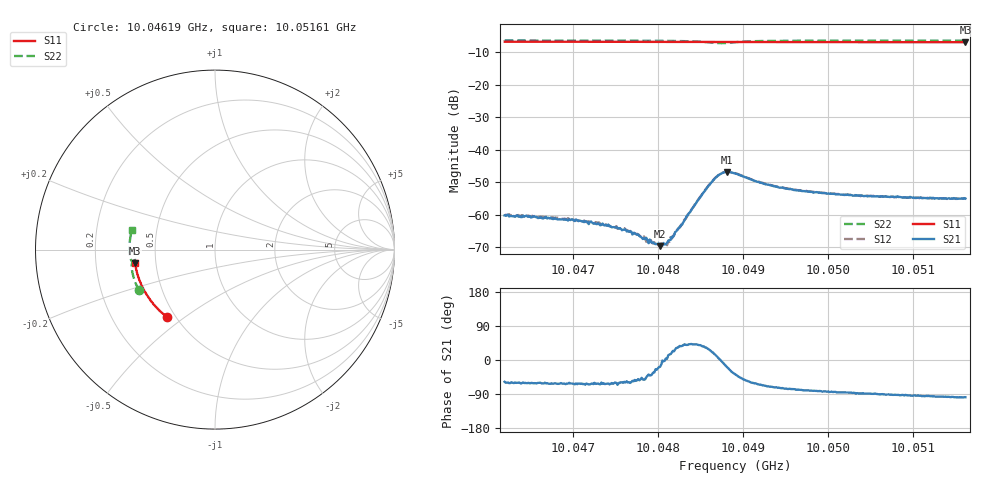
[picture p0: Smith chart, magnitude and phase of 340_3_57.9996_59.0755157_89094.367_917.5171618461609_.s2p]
#  HZ  S  RI  R  50.00
! Rohde & Schwarz Vector Network Analyzer
! Rohde-Schwarz,ZNB20-2Port,1311601062101988,3.16
! Created: UTC 3/21/2024, 1:05:29 AM
! freq[Hz]  re:S11  im:S11  re:S21  im:S21  re:S12  im:S12  re:S22  im:S22
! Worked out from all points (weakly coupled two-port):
!   401 points, 10.04619 GHz to 10.05161 GHz, reference 50 ohm
!   highest |S21| = -46.78 dB at 10.04881 GHz (marker M1); lowest = -69.6 dB at 10.04802 GHz (marker M2)
!   lowest |S11| = -6.9 dB at 10.05161 GHz (marker M3), VSWR 2.65, Z = 19 - j3.6 ohm
!   |S11| at or under -10 dB: nowhere
!   |S22| runs from -7.2 to -6.4 dB; largest |S21 - S12| = 0.00035
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1.004619e10  -0.2688 -0.3751  0.000529 -0.000826  0.000572 -0.000803  -0.4246 -0.2264
1.0046787e10  -0.2992 -0.3497  0.000422 -0.000778  0.000473 -0.000781  -0.4413 -0.1899
1.0047099e10  -0.3141 -0.3355  0.000369 -0.000701  0.000422 -0.000691  -0.4485 -0.17
1.0047289e10  -0.3228 -0.3266  0.000347 -0.000653  0.000382 -0.000661  -0.4525 -0.1574
1.0047411e10  -0.3283 -0.3206  0.000336 -0.000628  0.000364 -0.000572  -0.455 -0.1494
1.0047601e10  -0.3365 -0.3113  0.000321 -0.000503  0.000342 -0.000526  -0.4584 -0.1364
1.0047736e10  -0.3425 -0.3045  0.000291 -0.000416  0.000304 -0.000406  -0.4605 -0.1269
1.0047953e10  -0.3514 -0.2933  0.000308 -0.000199  0.000342 -0.000165  -0.4631 -0.1109
1.0048007e10  -0.3537 -0.2904  0.000345 -0.000117  0.000327 -7.71e-05  -0.4635 -0.1066
1.0048021e10  -0.3542 -0.2897  0.000315 -0.000101  0.000346 -7.97e-05  -0.4638 -0.1056
1.0048075e10  -0.3564 -0.2869  0.00035 -1.16e-05  0.000383 8.2e-07  -0.4639 -0.1013
1.0048129e10  -0.3585 -0.2841  0.000399 0.000102  0.000364 0.000122  -0.4643 -0.0969
1.0048278e10  -0.3644 -0.2762  0.000563 0.000427  0.000576 0.000485  -0.4636 -0.0844
1.0048482e10  -0.3718 -0.2651  0.00139 0.00113  0.00134 0.00124  -0.4569 -0.0657
1.0048645e10  -0.3775 -0.2561  0.00322 0.00113  0.00317 0.0013  -0.4404 -0.058
1.0048726e10  -0.3802 -0.2517  0.00422 8.56e-05  0.00426 0.000316  -0.4329 -0.0643
1.0048807e10  -0.383 -0.2473  0.00434 -0.00146  0.00445 -0.00123  -0.4346 -0.0738
1.0048902e10  -0.3862 -0.2421  0.00347 -0.00264  0.00365 -0.00245  -0.4454 -0.0779
1.004935e10  -0.4007 -0.2164  0.000881 -0.00264  0.00107 -0.00261  -0.4719 -0.045
1.0049811e10  -0.4135 -0.1889  0.00035 -0.00224  0.000487 -0.00221  -0.4764 -0.0102
1.0050719e10  -0.4334 -0.1327  -2.97e-05 -0.00189  6.18e-05 -0.00189  -0.4738 0.0526
1.0051614e10  -0.4455 -0.0754  -0.000254 -0.00177  -0.000164 -0.00177  -0.4631 0.1113
